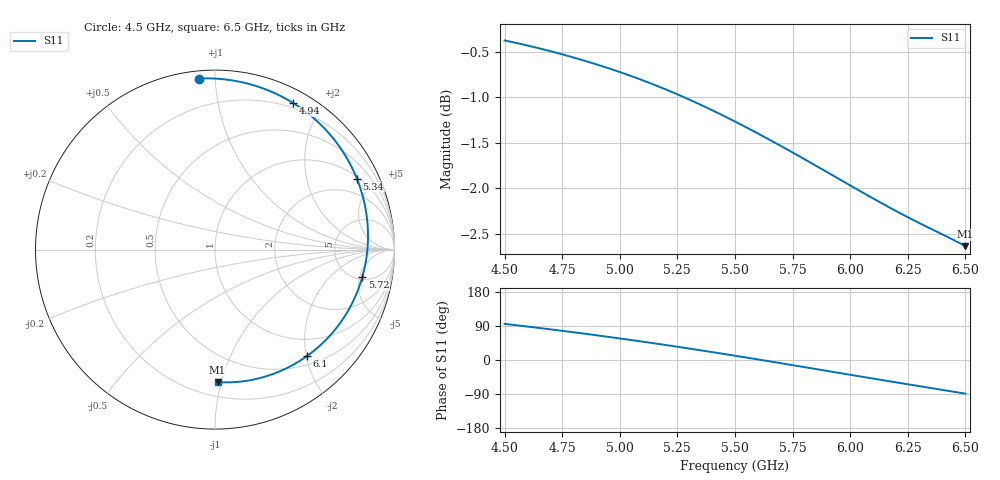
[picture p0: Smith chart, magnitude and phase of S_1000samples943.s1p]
! TOUCHSTONE file generated by CST MICROWAVE STUDIO
! Date and time: Sat Oct 29 21:20:59 2022
! Project name: L.cst
! Parameters = {Di=1.27; Epsilon_r=1.56; InnerDiameter=1.27; Length=2; Lf=10; Lg=60; OuterConductorThickness=0.2921; OuterDiameter=3.6; Wf=3; Wp=41.2; de=1.5; df=6.8; g=0.8; gx=2.51796; gy=4.44572; h=2.34; hf=1.524; px=9.96676; py=13.2488; w=9.7; wx=7.44881; wy=8.80309}
! Header version: 2018
! Port assignment regex: !\s*Touchstone port\s*([0-9]+)\s*=\s*(CST MWS port|CST DS port)\s*([0-9]+|Zmin|Zmax)\s*\(\"(.*)\"\)(\s*mode\s*([0-9]+))?.*
! Touchstone port assignment:
! Touchstone port 1 = CST MWS port 1 ("")
# GHz S DB R 50
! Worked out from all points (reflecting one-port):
!   101 points, 4.5 GHz to 6.5 GHz, reference 50 ohm
!   lowest |S11| = -2.6 dB at 6.5 GHz (marker M1), VSWR 6.64, Z = 15 - j48.7 ohm
!   phase of S11 starts at 95 deg and turns -184 deg over the sweep
!   S11 on the Smith chart (normalised r, x): 4.5 GHz: 0.04, +0.91; 4.94 GHz: 0.15, +1.66; 5.34 GHz: 1.09, +3.94; 5.72 GHz: 5.46, -5.51; 6.1 GHz: 0.66, -2.02; 6.5 GHz: 0.30, -0.97
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4.5  -0.38 95.4
4.58  -0.42 89.7
4.64  -0.46 85.3
4.76  -0.54 76.2
4.86  -0.61 68.4
4.94  -0.67 61.9
5  -0.73 56.9
5.12  -0.84 46.6
5.2  -0.92 39.5
5.26  -0.98 34.0
5.34  -1.07 26.6
5.42  -1.17 19.0
5.5  -1.27 11.3
5.6  -1.40 1.5
5.66  -1.48 -4.5
5.72  -1.57 -10.5
5.76  -1.62 -14.6
5.82  -1.71 -20.7
5.88  -1.80 -26.8
5.94  -1.88 -32.9
6  -1.97 -38.9
6.1  -2.11 -49.0
6.18  -2.23 -57.1
6.26  -2.33 -65.0
6.32  -2.41 -71.0
6.38  -2.48 -76.9
6.44  -2.56 -82.9
6.5  -2.64 -88.9
